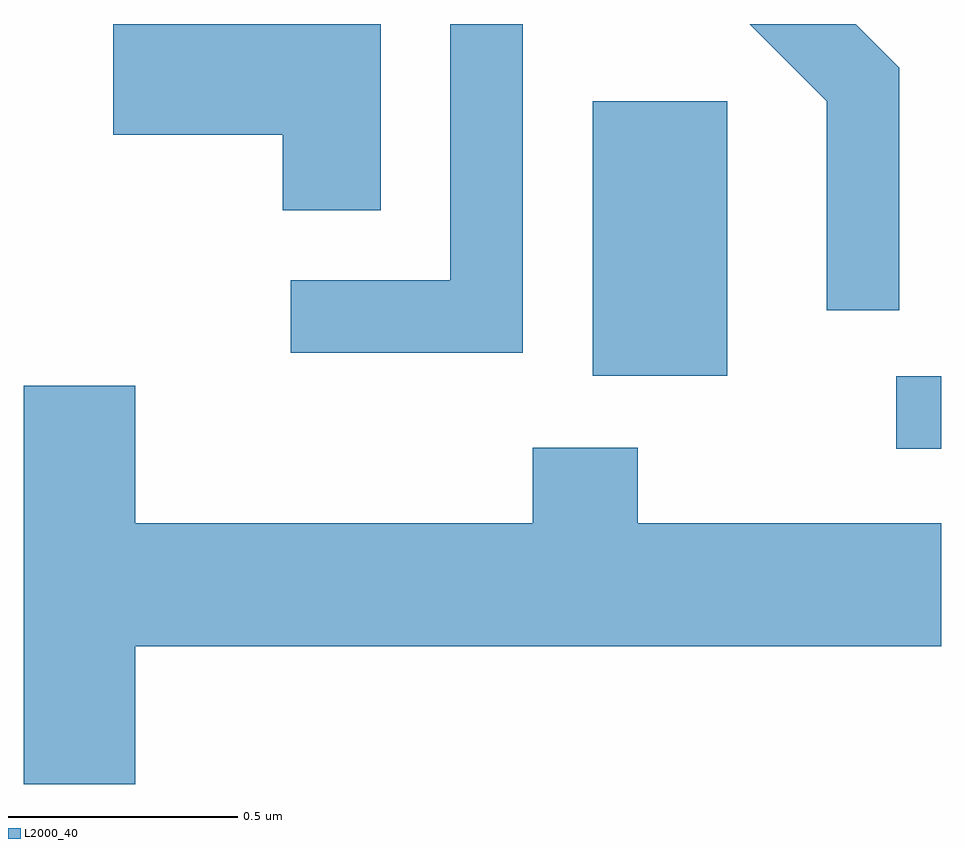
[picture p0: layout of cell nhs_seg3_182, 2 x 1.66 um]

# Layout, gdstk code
import gdstk
lib = gdstk.Library(unit=1e-6, precision=1e-09)
def R(c, l, rs):  # rectangles x0, y0, x1, y1
    for r in rs: c.add(gdstk.rectangle(r[:2], r[2:], *l))
def P(c, l, *ps):  # polygons
    for p in ps: c.add(gdstk.Polygon(p, *l))
L2000_40 = (2000, 40)

nhs_seg3_182 = lib.new_cell('nhs_seg3_182')
R(nhs_seg3_182, L2000_40, [(188.513,1161.966,188.611,1162.124), (187.851,1162.126,188.144,1162.724)])
P(nhs_seg3_182, L2000_40, [(187.699,1162.892),(187.541,1162.892),(187.541,1162.334),(187.193,1162.334),(187.193,1162.176),(187.699,1162.176)],
  [(188.519,1162.797),(188.424,1162.892),(188.193,1162.892),(188.361,1162.724),(188.361,1162.268),(188.519,1162.268)],
  [(187.389,1162.892),(186.806,1162.892),(186.806,1162.651),(187.176,1162.651),(187.176,1162.486),(187.389,1162.486)],
  [(186.854,1161.536),(188.611,1161.536),(188.611,1161.804),(187.949,1161.804),(187.949,1161.969),(187.721,1161.969),(187.721,1161.804),(186.854,1161.804),(186.854,1162.104),(186.611,1162.104),(186.611,1161.236),(186.854,1161.236)])

lib.write_gds('nhs_seg3_182.gds')
